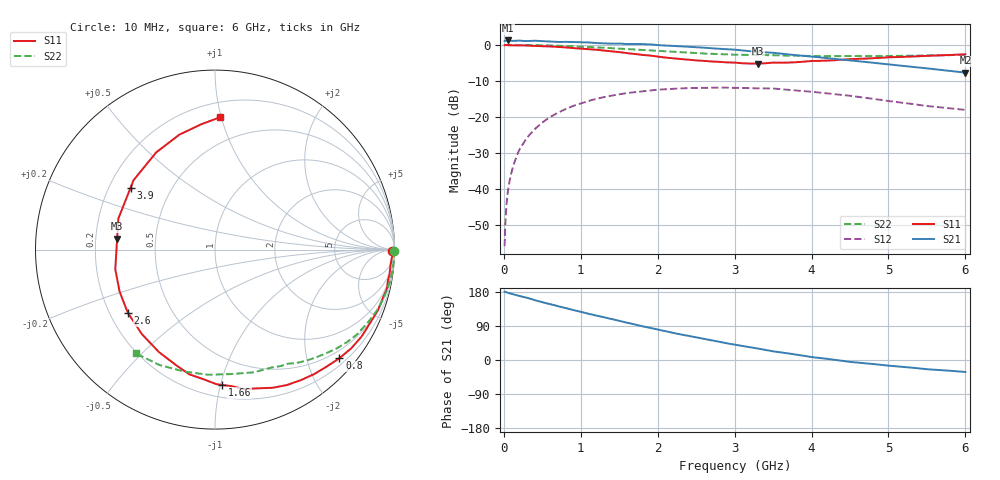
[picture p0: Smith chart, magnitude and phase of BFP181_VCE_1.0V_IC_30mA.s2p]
! Infineon Technologies  Discrete & RF Semiconductors
! BFP181
! VCE = 1.0 V,  IC =  30 mA
! Common Emitter S-Parameters:  Jan 2016
# GHz  S  MA  R  50
!  f  S11  S21  S12  S22
! GHz  MAG  ANG  MAG  ANG  MAG  ANG  MAG  ANG
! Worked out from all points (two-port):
!   210 points, 10 MHz to 6 GHz, reference 50 ohm
!   highest |S21| = 1.21 dB at 50 MHz (marker M1); lowest = -7.7 dB at 6 GHz (marker M2)
!   |S21| within 3 dB of the highest: start of sweep to 3.21 GHz
!   lowest |S11| = -5.2 dB at 3.3 GHz (marker M3), VSWR 3.43, Z = 14.6 + j2.52 ohm
!   |S11| at or under -10 dB: nowhere
!   |S22| runs from -3.1 to 0.0 dB; largest |S21 - S12| = 1.1
!   S11 on the Smith chart (normalised r, x): 10 MHz: open; 800 MHz: 0.33, -2.63; 1.66 GHz: 0.29, -1.01; 2.6 GHz: 0.27, -0.30; 3.9 GHz: 0.29, +0.30; 6 GHz: 0.31, +0.99
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0.01  0.984 -0.5  1.132 179.9  0.0016 90.5  0.9999 -0.3
0.015  0.9893 -0.8  1.133 179.8  0.0025 93.8  0.9982 -0.4
0.025  0.9933 -1.2  1.137 179.4  0.0043 93.1  0.9969 -0.7
0.05  0.9868 -2.4  1.149 177.3  0.0088 88.8  0.9985 -1.4
0.09  0.9823 -4.6  1.136 175.2  0.0154 86.7  0.9981 -2.4
0.135  0.9818 -6.9  1.133 172.7  0.0229 84.5  0.9979 -3.5
0.2  0.9789 -10.2  1.146 169.2  0.0345 82.7  0.9968 -5.3
0.28  0.9774 -14.4  1.128 165.2  0.0474 79.2  0.9942 -7.5
0.5  0.9558 -25.8  1.128 152.3  0.0832 70.5  0.9846 -13.2
0.8  0.9202 -41.1  1.099 137.3  0.1275 59.3  0.9627 -20.8
1.02  0.8829 -52.5  1.082 126.2  0.1561 51.1  0.94 -26.3
1.3  0.8344 -67.3  1.048 112.7  0.1876 41.1  0.9102 -32.9
1.66  0.7551 -86.9  1.026 95.8  0.2176 29.9  0.8651 -40.2
2.02  0.6821 -107.9  0.988 79.5  0.2389 19.3  0.8222 -47.0
2.6  0.5998 -144.1  0.913 56.0  0.2523 3.7  0.7555 -57.1
3.1  0.5547 -174.5  0.835 37.1  0.2515 -8.9  0.7259 -65.7
3.3  0.5486 173.7  0.799 30.3  0.2487 -13.2  0.7203 -69.0
3.9  0.583 143.8  0.702 11.1  0.2272 -25.0  0.7013 -80.4
4.1  0.5985 135.7  0.671 5.5  0.2172 -28.5  0.6973 -84.6
4.5  0.6329 121.2  0.609 -5.0  0.196 -34.8  0.6986 -93.3
5.1  0.6746 105.0  0.522 -16.6  0.1609 -39.3  0.7013 -106.8
6  0.7384 87.7  0.411 -31.6  0.1247 -34.7  0.7274 -127.4
